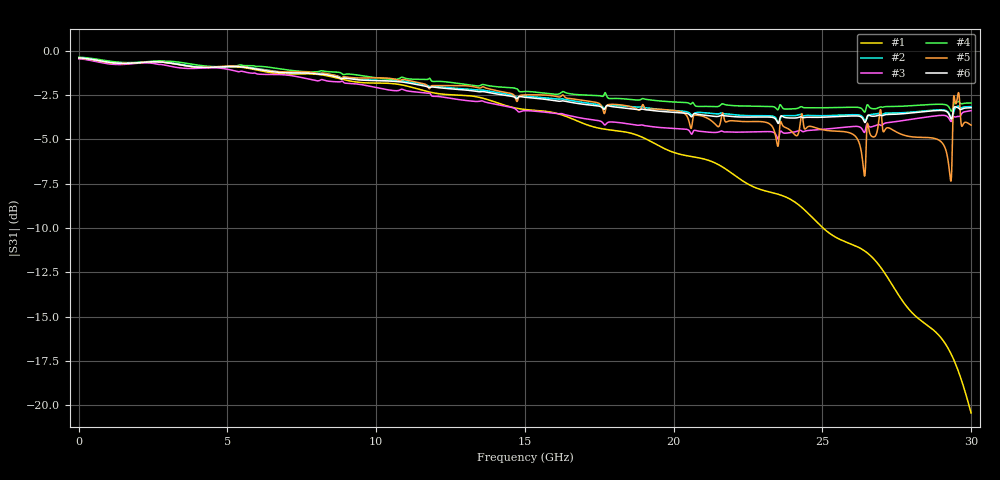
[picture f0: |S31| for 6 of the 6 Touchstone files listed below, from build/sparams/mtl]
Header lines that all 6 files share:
# Hz S RI R 50.0
!freq ReS11 ImS11 ReS12 ImS12 ReS13 ImS13
! ReS14 ImS14
! ReS21 ImS21 ReS22 ImS22 ReS23 ImS23
! ReS24 ImS24
! ReS31 ImS31 ReS32 ImS32 ReS33 ImS33
! ReS34 ImS34
! ReS41 ImS41 ReS42 ImS42 ReS43 ImS43
! ReS44 ImS44
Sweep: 10 MHz to 30 GHz
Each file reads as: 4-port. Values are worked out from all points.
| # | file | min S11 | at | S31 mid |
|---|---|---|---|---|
| 1 | A.s4p | -37.9 dB | 2.75 GHz | -3.3 dB at 15.01 GHz |
| 2 | B.s4p | -38.3 dB | 29.74 GHz | -2.6 dB at 15.01 GHz |
| 3 | B_R3.s4p | -42.5 dB | 23.47 GHz | -3.4 dB at 15.01 GHz |
| 4 | B_R075.s4p | -50.7 dB | 26.42 GHz | -2.3 dB at 15.01 GHz |
| 5 | C_far.s4p | -41.6 dB | 28.44 GHz | -2.5 dB at 15.01 GHz |
| 6 | E.s4p | -42.0 dB | 29.36 GHz | -2.6 dB at 15.01 GHz |
